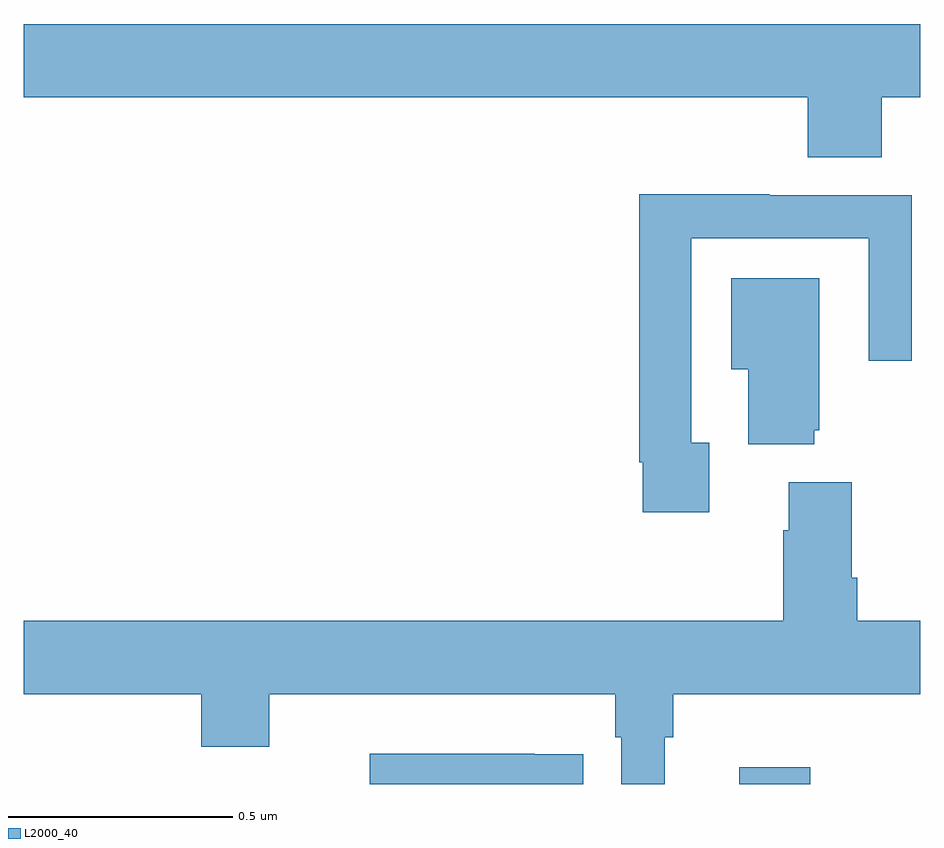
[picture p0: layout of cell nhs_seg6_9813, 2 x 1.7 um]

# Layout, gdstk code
import gdstk
lib = gdstk.Library(unit=1e-6, precision=1e-09)
def R(c, l, rs):  # rectangles x0, y0, x1, y1
    for r in rs: c.add(gdstk.rectangle(r[:2], r[2:], *l))
def P(c, l, *ps):  # polygons
    for p in ps: c.add(gdstk.Polygon(p, *l))
L2000_40 = (2000, 40)

nhs_seg6_9813 = lib.new_cell('nhs_seg6_9813')
R(nhs_seg6_9813, L2000_40, [(240.596,916.5,240.755,916.537)])
P(nhs_seg6_9813, L2000_40, [(240.914,918.032),(241,918.032),(241,918.196),(239,918.196),(239,918.032),(240.749,918.032),(240.749,917.899),(240.914,917.899)],
  [(240.529,917.262),(240.489,917.262),(240.489,917.718),(240.885,917.718),(240.885,917.445),(240.981,917.445),(240.981,917.814),(240.665,917.814),(240.665,917.816),(240.373,917.816),(240.373,917.218),(240.381,917.218),(240.381,917.106),(240.529,917.106)],
  [(240.764,917.289),(240.775,917.289),(240.775,917.629),(240.578,917.629),(240.578,917.426),(240.617,917.426),(240.617,917.258),(240.764,917.258)],
  [(240.43,916.604),(240.449,916.604),(240.449,916.7),(241,916.7),(241,916.864),(240.86,916.864),(240.86,916.96),(240.847,916.96),(240.847,917.173),(240.707,917.173),(240.707,917.066),(240.695,917.066),(240.695,916.864),(239,916.864),(239,916.7),(239.396,916.7),(239.396,916.583),(239.548,916.583),(239.548,916.7),(240.32,916.7),(240.32,916.604),(240.333,916.604),(240.333,916.5),(240.43,916.5)],
  [(240.248,916.566),(240.14,916.566),(240.14,916.567),(239.772,916.567),(239.772,916.5),(240.248,916.5)])

lib.write_gds('nhs_seg6_9813.gds')
